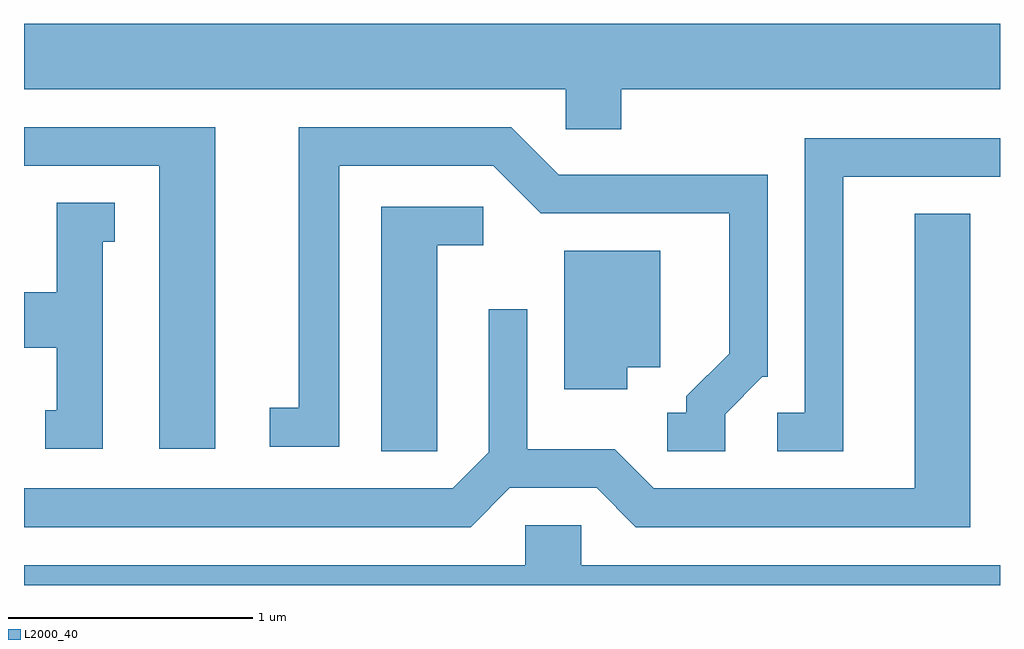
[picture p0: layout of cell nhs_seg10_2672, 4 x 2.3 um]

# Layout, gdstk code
import gdstk
lib = gdstk.Library(unit=1e-6, precision=1e-09)
def P(c, l, *ps):  # polygons
    for p in ps: c.add(gdstk.Polygon(p, *l))
L2000_40 = (2000, 40)

nhs_seg10_2672 = lib.new_cell('nhs_seg10_2672')
P(nhs_seg10_2672, L2000_40, [(266.059,2140.556),(267.611,2140.556),(267.611,2140.824),(263.611,2140.824),(263.611,2140.556),(265.831,2140.556),(265.831,2140.391),(266.059,2140.391)],
  [(266.484,2139.224),(266.637,2139.376),(266.659,2139.376),(266.659,2140.204),(265.802,2140.204),(265.607,2140.399),(264.736,2140.399),(264.736,2139.249),(264.618,2139.249),(264.618,2139.091),(264.904,2139.091),(264.904,2140.241),(265.534,2140.241),(265.729,2140.046),(266.501,2140.046),(266.501,2139.472),(266.326,2139.297),(266.326,2139.229),(266.248,2139.229),(266.248,2139.071),(266.484,2139.071)],
  [(264.394,2140.399),(263.611,2140.399),(263.611,2140.241),(264.166,2140.241),(264.166,2139.081),(264.394,2139.081)],
  [(266.969,2140.196),(267.611,2140.196),(267.611,2140.354),(266.811,2140.354),(266.811,2139.229),(266.698,2139.229),(266.698,2139.071),(266.969,2139.071)],
  [(263.934,2139.931),(263.983,2139.931),(263.983,2140.089),(263.746,2140.089),(263.746,2139.724),(263.611,2139.724),(263.611,2139.496),(263.746,2139.496),(263.746,2139.239),(263.698,2139.239),(263.698,2139.081),(263.934,2139.081)],
  [(265.304,2139.916),(265.493,2139.916),(265.493,2140.074),(265.076,2140.074),(265.076,2139.071),(265.304,2139.071)],
  [(265.602,2138.921),(265.959,2138.921),(266.119,2138.761),(267.489,2138.761),(267.489,2140.044),(267.261,2140.044),(267.261,2138.919),(266.192,2138.919),(266.032,2139.079),(265.674,2139.079),(265.674,2139.653),(265.516,2139.653),(265.516,2139.067),(265.369,2138.919),(263.611,2138.919),(263.611,2138.761),(265.442,2138.761)],
  [(266.084,2139.416),(266.219,2139.416),(266.219,2139.894),(265.826,2139.894),(265.826,2139.326),(266.084,2139.326)],
  [(267.611,2138.604),(265.894,2138.604),(265.894,2138.769),(265.666,2138.769),(265.666,2138.604),(263.611,2138.604),(263.611,2138.522),(267.611,2138.522)])

lib.write_gds('nhs_seg10_2672.gds')
